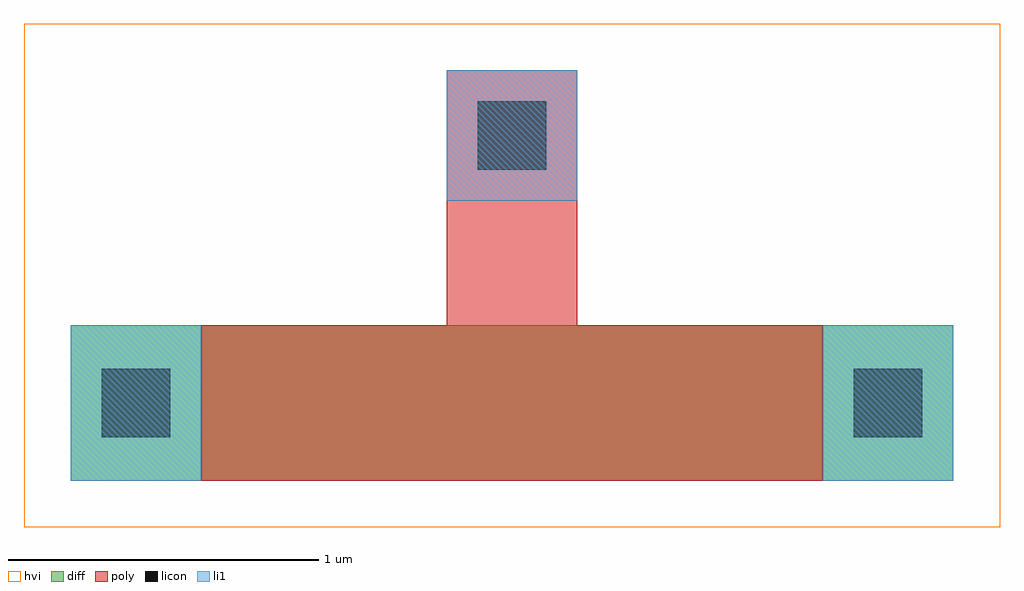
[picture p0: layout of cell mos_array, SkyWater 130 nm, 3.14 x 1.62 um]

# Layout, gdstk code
import gdstk
lib = gdstk.Library(unit=1e-6, precision=1e-09)
def R(c, l, rs):  # rectangles x0, y0, x1, y1
    for r in rs: c.add(gdstk.rectangle(r[:2], r[2:], *l))
diff = (65, 20)
poly = (66, 20)
licon = (66, 44)
li1 = (67, 20)
hvi = (75, 20)

mos_array = lib.new_cell('mos_array')
R(mos_array, diff, [(0,0,2.84,0.5)])
R(mos_array, poly, [(0.42,0,2.42,0.5), (1.21,0.5,1.63,1.32)])
R(mos_array, licon, [(0.1,0.14,0.32,0.36), (2.52,0.14,2.74,0.36), (1.31,1,1.53,1.22)])
R(mos_array, li1, [(0,0,0.42,0.5), (2.42,0,2.84,0.5), (1.21,0.9,1.63,1.32)])
R(mos_array, hvi, [(-0.15,-0.15,2.99,1.47)])

lib.write_gds('mos_array.gds')
